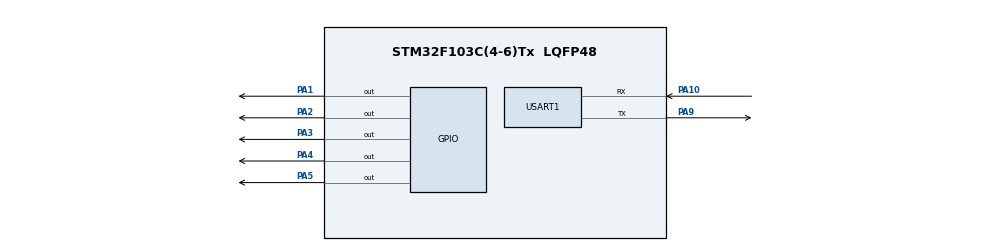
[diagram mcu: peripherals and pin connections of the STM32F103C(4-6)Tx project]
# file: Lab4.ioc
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Mcu.Family=STM32F1
Mcu.Name=STM32F103C(4-6)Tx
Mcu.Package=LQFP48
NVIC.PriorityGroup=NVIC_PRIORITYGROUP_4
NVIC.TIM2_IRQn=true\:0\:0\:false\:false\:true\:true\:true
PA1.Signal=GPIO_Output
PA10.Mode=Asynchronous
PA10.Signal=USART1_RX
PA13.Mode=Serial_Wire
PA13.Signal=SYS_JTMS-SWDIO
PA14.Mode=Serial_Wire
PA14.Signal=SYS_JTCK-SWCLK
PA2.Signal=GPIO_Output
PA3.Signal=GPIO_Output
PA4.Signal=GPIO_Output
PA5.Signal=GPIO_Output
PA9.Mode=Asynchronous
PA9.Signal=USART1_TX
PD0-OSC_IN.Mode=HSE-External-Oscillator
PD0-OSC_IN.Signal=RCC_OSC_IN
PD1-OSC_OUT.Mode=HSE-External-Oscillator
PD1-OSC_OUT.Signal=RCC_OSC_OUT
ProjectManager.HeapSize=0x200
ProjectManager.StackSize=0x400
ProjectManager.TargetToolchain=STM32CubeIDE
RCC.APB1Freq_Value=8000000
RCC.APB2Freq_Value=8000000
TIM2.Period=9
TIM2.Prescaler=7999
USART1.VirtualMode=VM_ASYNC
VP_TIM2_VS_ClockSourceINT.Mode=Internal
board=custom

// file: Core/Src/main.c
/* USER CODE BEGIN Header */
/**
  ******************************************************************************
  * @file           : main.c
  * @brief          : Main program body
  ******************************************************************************
  * @attention
  *
  * <h2><center>&copy; Copyright (c) 2026 STMicroelectronics.
  * All rights reserved.</center></h2>
  *
  * This software component is licensed by ST under BSD 3-Clause license,
  * the "License"; You may not use this file except in compliance with the
  * License. You may obtain a copy of the License at:
  *                        opensource.org/licenses/BSD-3-Clause
  *
  ******************************************************************************
  */
/* USER CODE END Header */
#include "main.h"

/* USER CODE BEGIN Includes */
#include <stdio.h>
#include "scheduler.h"
/* USER CODE END Includes */

TIM_HandleTypeDef htim2;
UART_HandleTypeDef huart1;

/* USER CODE BEGIN PV */
uint32_t system_time_ms = 0;
uint32_t task5_id;
/* USER CODE END PV */

void SystemClock_Config(void);
static void MX_GPIO_Init(void);
static void MX_TIM2_Init(void);
static void MX_USART1_UART_Init(void);

/* USER CODE BEGIN 0 */

#ifdef __GNUC__
#define PUTCHAR_PROTOTYPE int __io_putchar(int ch)
#else
#define PUTCHAR_PROTOTYPE int fputc(int ch, FILE *f)
#endif

PUTCHAR_PROTOTYPE {
    HAL_UART_Transmit(&huart1, (uint8_t *)&ch, 1, HAL_MAX_DELAY);
    return ch;
}

void led_blink_1() {
    HAL_GPIO_TogglePin(GPIOA, GPIO_PIN_1);
    printf("Timestamp: %lu ms - LED 1 toggled\r\n", system_time_ms);
}
void led_blink_2() {
    HAL_GPIO_TogglePin(GPIOA, GPIO_PIN_2);
    printf("Timestamp: %lu ms - LED 2 toggled\r\n", system_time_ms);
}
void led_blink_3() {
    HAL_GPIO_TogglePin(GPIOA, GPIO_PIN_3);
    printf("Timestamp: %lu ms - LED 3 toggled\r\n", system_time_ms);
}
void led_blink_4() {
    HAL_GPIO_TogglePin(GPIOA, GPIO_PIN_4);
    printf("Timestamp: %lu ms - LED 4 toggled\r\n", system_time_ms);
}
void led_blink_5() {
    HAL_GPIO_TogglePin(GPIOA, GPIO_PIN_5);
    printf("Timestamp: %lu ms - LED 5 toggled\r\n", system_time_ms);
}

void print_time_10ms() {
    // In thời gian mỗi 10ms theo đúng yêu cầu đề bài
    printf("10ms Tick Time: %lu ms\r\n", system_time_ms);
}

void demo_delete_task() {
    printf("Timestamp: %lu ms - DELETING TASK 5...\r\n", system_time_ms);
    SCH_Delete_Task(task5_id);
}

/* USER CODE END 0 */

int main(void)
{

  /* MCU Configuration--------------------------------------------------------*/

  /* Reset of all peripherals, Initializes the Flash interface and the Systick. */
  HAL_Init();

  /* Configure the system clock */
  SystemClock_Config();

  /* Initialize all configured peripherals */
  MX_GPIO_Init();
  MX_TIM2_Init();
  MX_USART1_UART_Init();
  /* USER CODE BEGIN 2 */
    SCH_Init();

    // Yêu cầu: Đăng ký một callback mỗi 10ms (1 tick)
    SCH_Add_Task(print_time_10ms, 1, 1);

    // Yêu cầu: Delay ban đầu phải lớn hơn 0 để task thức dậy SAU KHI vào while(1)
    // Thay số 0 thành thời gian delay tương ứng với chu kỳ của nó
    SCH_Add_Task(led_blink_1, 50, 50);   // Khởi chạy sau 500ms, lặp lại mỗi 500ms
    SCH_Add_Task(led_blink_2, 100, 100); // Khởi chạy sau 1s, lặp lại mỗi 1s
    SCH_Add_Task(led_blink_3, 150, 150); // Khởi chạy sau 1.5s, lặp lại mỗi 1.5s
    SCH_Add_Task(led_blink_4, 200, 200); // Khởi chạy sau 2s, lặp lại mỗi 2s

    // Lưu lại ID của task 5
    task5_id = SCH_Add_Task(led_blink_5, 250, 250); // Khởi chạy sau 2.5s, lặp lại mỗi 2.5s

    // Thêm 1 task chạy MỘT LẦN sau 10 giây (1000 ticks) để xóa task 5
    SCH_Add_Task(demo_delete_task, 1000, 0);

    HAL_TIM_Base_Start_IT(&htim2);
    /* USER CODE END 2 */

  /* Infinite loop */
    while (1)
    {

    /* USER CODE BEGIN 3 */
      SCH_Dispatch_Tasks(); // Thêm dòng này để thực thi các task đã đến gi�?
    }
  /* USER CODE END 3 */
}

void SystemClock_Config(void)
{
  RCC_OscInitTypeDef RCC_OscInitStruct = {0};
  RCC_ClkInitTypeDef RCC_ClkInitStruct = {0};

  /** Initializes the RCC Oscillators according to the specified parameters
  * in the RCC_OscInitTypeDef structure.
  */
  RCC_OscInitStruct.OscillatorType = RCC_OSCILLATORTYPE_HSI;
  RCC_OscInitStruct.HSIState = RCC_HSI_ON;
  RCC_OscInitStruct.HSICalibrationValue = RCC_HSICALIBRATION_DEFAULT;
  RCC_OscInitStruct.PLL.PLLState = RCC_PLL_NONE;
  if (HAL_RCC_OscConfig(&RCC_OscInitStruct) != HAL_OK)
  {
    Error_Handler();
  }
  /** Initializes the CPU, AHB and APB buses clocks
  */
  RCC_ClkInitStruct.ClockType = RCC_CLOCKTYPE_HCLK|RCC_CLOCKTYPE_SYSCLK
                              |RCC_CLOCKTYPE_PCLK1|RCC_CLOCKTYPE_PCLK2;
  RCC_ClkInitStruct.SYSCLKSource = RCC_SYSCLKSOURCE_HSI;
  RCC_ClkInitStruct.AHBCLKDivider = RCC_SYSCLK_DIV1;
  RCC_ClkInitStruct.APB1CLKDivider = RCC_HCLK_DIV1;
  RCC_ClkInitStruct.APB2CLKDivider = RCC_HCLK_DIV1;

  if (HAL_RCC_ClockConfig(&RCC_ClkInitStruct, FLASH_LATENCY_0) != HAL_OK)
  {
    Error_Handler();
  }
}

static void MX_TIM2_Init(void)
{

  TIM_ClockConfigTypeDef sClockSourceConfig = {0};
  TIM_MasterConfigTypeDef sMasterConfig = {0};

  htim2.Instance = TIM2;
  htim2.Init.Prescaler = 7999;
  htim2.Init.CounterMode = TIM_COUNTERMODE_UP;
  htim2.Init.Period = 9;
  htim2.Init.ClockDivision = TIM_CLOCKDIVISION_DIV1;
  htim2.Init.AutoReloadPreload = TIM_AUTORELOAD_PRELOAD_DISABLE;
  if (HAL_TIM_Base_Init(&htim2) != HAL_OK)
  {
    Error_Handler();
  }
  sClockSourceConfig.ClockSource = TIM_CLOCKSOURCE_INTERNAL;
  if (HAL_TIM_ConfigClockSource(&htim2, &sClockSourceConfig) != HAL_OK)
  {
    Error_Handler();
  }
  sMasterConfig.MasterOutputTrigger = TIM_TRGO_RESET;
  sMasterConfig.MasterSlaveMode = TIM_MASTERSLAVEMODE_DISABLE;
  if (HAL_TIMEx_MasterConfigSynchronization(&htim2, &sMasterConfig) != HAL_OK)
  {
    Error_Handler();
  }

}

static void MX_USART1_UART_Init(void)
{

  huart1.Instance = USART1;
  huart1.Init.BaudRate = 115200;
  huart1.Init.WordLength = UART_WORDLENGTH_8B;
  huart1.Init.StopBits = UART_STOPBITS_1;
  huart1.Init.Parity = UART_PARITY_NONE;
  huart1.Init.Mode = UART_MODE_TX_RX;
  huart1.Init.HwFlowCtl = UART_HWCONTROL_NONE;
  huart1.Init.OverSampling = UART_OVERSAMPLING_16;
  if (HAL_UART_Init(&huart1) != HAL_OK)
  {
    Error_Handler();
  }

}

static void MX_GPIO_Init(void)
{
  GPIO_InitTypeDef GPIO_InitStruct = {0};

  /* GPIO Ports Clock Enable */
  __HAL_RCC_GPIOD_CLK_ENABLE();
  __HAL_RCC_GPIOA_CLK_ENABLE();

  /*Configure GPIO pin Output Level */
  HAL_GPIO_WritePin(GPIOA, GPIO_PIN_1|GPIO_PIN_2|GPIO_PIN_3|GPIO_PIN_4
                          |GPIO_PIN_5, GPIO_PIN_RESET);

  /*Configure GPIO pins : PA1 PA2 PA3 PA4
                           PA5 */
  GPIO_InitStruct.Pin = GPIO_PIN_1|GPIO_PIN_2|GPIO_PIN_3|GPIO_PIN_4
                          |GPIO_PIN_5;
  GPIO_InitStruct.Mode = GPIO_MODE_OUTPUT_PP;
  GPIO_InitStruct.Pull = GPIO_NOPULL;
  GPIO_InitStruct.Speed = GPIO_SPEED_FREQ_LOW;
  HAL_GPIO_Init(GPIOA, &GPIO_InitStruct);

}

/* USER CODE BEGIN 4 */
void HAL_TIM_PeriodElapsedCallback(TIM_HandleTypeDef *htim) {
    if(htim->Instance == TIM2) {
        system_time_ms += 10; // Cập nhật thời gian mỗi 10ms
        SCH_Update();
    }
}
/* USER CODE END 4 */

void Error_Handler(void)
{
  __disable_irq();
  while (1)
  {
  }
}

/************************ (C) COPYRIGHT STMicroelectronics *****END OF FILE****/
